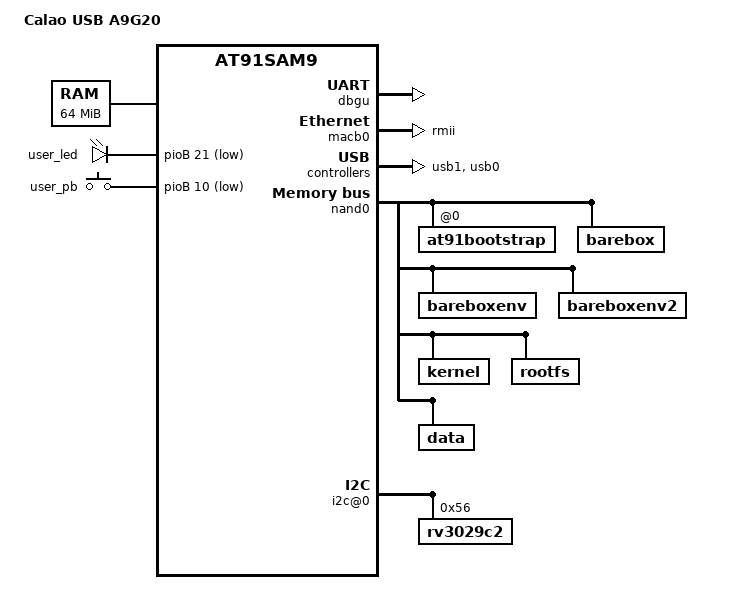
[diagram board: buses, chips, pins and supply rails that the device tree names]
/*
 * usb_a9g20.dts - Device Tree file for Caloa USB A9G20 board
 *
 *  Copyright (C) 2011 Jean-Christophe PLAGNIOL-VILLARD <plagnioj@jcrosoft.com>
 *
 * Licensed under GPLv2 or later.
 */
/dts-v1/;
/include/ "at91sam9g20.dtsi"

/ {
	model = "Calao USB A9G20";
	compatible = "calao,usb-a9g20", "atmel,at91sam9g20", "atmel,at91sam9";

	chosen {
		bootargs = "mem=64M console=ttyS0,115200 root=/dev/mtdblock5 rw rootfstype=ubifs";
	};

	memory {
		reg = <0x20000000 0x4000000>;
	};

	clocks {
		#address-cells = <1>;
		#size-cells = <1>;
		ranges;

		main_clock: clock@0 {
			compatible = "atmel,osc", "fixed-clock";
			clock-frequency = <12000000>;
		};
	};

	ahb {
		apb {
			dbgu: serial@fffff200 {
				status = "okay";
			};

			macb0: ethernet@fffc4000 {
				phy-mode = "rmii";
				status = "okay";
			};

			usb1: gadget@fffa4000 {
				atmel,vbus-gpio = <&pioC 5 0>;
				status = "okay";
			};
		};

		nand0: nand@40000000 {
			nand-bus-width = <8>;
			nand-ecc-mode = "soft";
			nand-on-flash-bbt;
			status = "okay";

			at91bootstrap@0 {
				label = "at91bootstrap";
				reg = <0x0 0x20000>;
			};

			barebox@20000 {
				label = "barebox";
				reg = <0x20000 0x40000>;
			};

			bareboxenv@60000 {
				label = "bareboxenv";
				reg = <0x60000 0x20000>;
			};

			bareboxenv2@80000 {
				label = "bareboxenv2";
				reg = <0x80000 0x20000>;
			};

			kernel@a0000 {
				label = "kernel";
				reg = <0xa0000 0x400000>;
			};

			rootfs@4a0000 {
				label = "rootfs";
				reg = <0x4a0000 0x7800000>;
			};

			data@7ca0000 {
				label = "data";
				reg = <0x7ca0000 0x8360000>;
			};
		};

		usb0: ohci@00500000 {
			num-ports = <2>;
			status = "okay";
		};
	};

	leds {
		compatible = "gpio-leds";

		user_led {
			label = "user_led";
			gpios = <&pioB 21 1>;
			linux,default-trigger = "heartbeat";
		};
	};

	gpio_keys {
		compatible = "gpio-keys";
		#address-cells = <1>;
		#size-cells = <0>;

		user_pb {
			label = "user_pb";
			gpios = <&pioB 10 1>;
			linux,code = <28>;
			gpio-key,wakeup;
		};
	};

	i2c@0 {
		status = "okay";

		rv3029c2@56 {
			compatible = "rv3029c2";
			reg = <0x56>;
		};
	};
};
